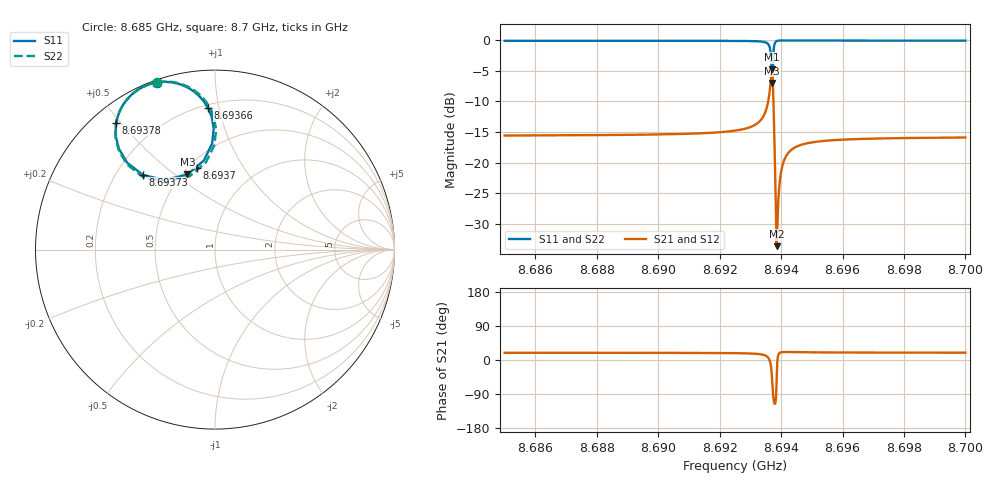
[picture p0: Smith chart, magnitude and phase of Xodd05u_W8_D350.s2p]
! Sonnet Data File
! From: emgraph Version : 16.52
! From Project: Qubit_Xmon2_brg_para2
! Data is De-embedded
! Data File Written: 11/12/2017 19:07:08
!< HDATE 11/12/2017 17:14:45
!< MDATE 11/12/2017 17:15:37
!< PARAMS
!< Lj = 11.0
!< Gap = 6.0
!< Pwid = 2000.0
!< Airgap = 6.0
!< Width = 10.0
!< Bwid = 8.0
!< Dis1 = 350.0
!< Dis2 = 356.0
!< END PARAMS
# GHZ S MA R 34.65000
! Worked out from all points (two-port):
!   3001 points, 8.685 GHz to 8.7 GHz, reference 34.65 ohm
!   highest |S21| = -4.80 dB at 8.6937 GHz (marker M1); lowest = -33.6 dB at 8.69385 GHz (marker M2)
!   |S21| within 3 dB of the highest: 8.693641 GHz to 8.693739 GHz (98.17 kHz wide, 0.00113 % of centre)
!   lowest |S11| = -7.0 dB at 8.69371 GHz (marker M3), VSWR 2.61, Z = 18.4 + j19.3 ohm
!   |S11| at or under -10 dB: nowhere
!   |S22| runs from -7.3 to -0.1 dB; largest |S21 - S12| = 0
!   S11 on the Smith chart (normalised r, x): 8.685 GHz: 0.01, +0.71; 8.69366 GHz: 0.22, +0.93; 8.6937 GHz: 0.55, +0.64; 8.69373 GHz: 0.31, +0.39; 8.69378 GHz: 0.07, +0.49; 8.7 GHz: 0.01, +0.71
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8.685  0.986 109.3  0.1664 19.1  0.1664 19.1  0.986 109.0
!< P1 F=8.685 Eeff=(5.13531798 -5.6615e-5) Z0=(34.6525852 -9.396e-5) R=0.0 C=0.0
!< P2 F=8.685 Eeff=(5.13531798 -5.6615e-5) Z0=(34.6525852 -9.396e-5) R=0.0 C=0.0
8.6875  0.9859 109.2  0.1675 19.1  0.1675 19.1  0.9859 108.9
8.69  0.9854 109.0  0.17 18.9  0.17 18.9  0.9854 108.8
8.6925  0.9829 108.3  0.1824 18.1  0.1824 18.1  0.9829 108.0
8.693205  0.9766 106.9  0.2075 16.2  0.2075 16.2  0.9766 106.5
8.69352  0.9511 103.0  0.2734 10.5  0.2734 10.5  0.9508 102.6
8.6936  0.9117 99.3  0.3382 3.8  0.3382 3.8  0.9109 98.7
8.693635  0.8628 96.0  0.3949 -2.9  0.3949 -2.9  0.8612 95.3
8.69366  0.7881 92.7  0.4573 -11.5  0.4573 -11.5  0.7852 91.8
8.693705  0.4653 102.6  0.5753 -48.2  0.5753 -48.2  0.4518 101.6
8.69371  0.446 110.2  0.5705 -54.6  0.5705 -54.6  0.4311 109.6
8.69373  0.5791 134.1  0.4739 -80.5  0.4739 -80.5  0.5686 134.8
8.693775  0.8964 127.9  0.1861 -112.5  0.1861 -112.5  0.8939 128.1
8.693815  0.9606 121.7  0.06644 -112.9  0.06644 -112.9  0.9596 121.8
8.693855  0.9797 118.5  0.02087 -51.7  0.02087 -51.7  0.9791 118.4
8.6939  0.9873 116.3  0.04302 10.0  0.04302 10.0  0.9869 116.2
8.69401  0.9915 113.8  0.08679 20.5  0.08679 20.5  0.9913 113.6
8.694175  0.9915 112.2  0.1145 21.1  0.1145 21.1  0.9914 112.0
8.69447  0.9903 111.1  0.1339 20.6  0.1339 20.6  0.9902 110.8
8.695  0.989 110.4  0.1463 20.1  0.1463 20.1  0.989 110.1
8.6975  0.9874 109.7  0.1581 19.5  0.1581 19.5  0.9874 109.4
8.7  0.987 109.5  0.1605 19.4  0.1605 19.4  0.987 109.2
